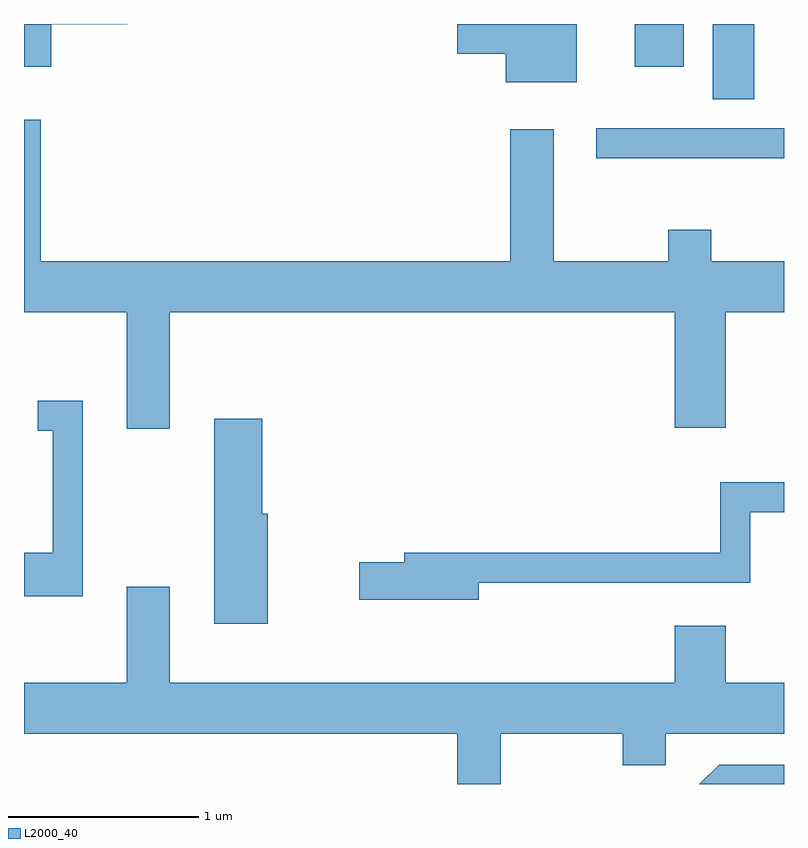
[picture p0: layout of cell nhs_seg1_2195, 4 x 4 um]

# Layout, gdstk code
import gdstk
lib = gdstk.Library(unit=1e-6, precision=1e-09)
def R(c, l, rs):  # rectangles x0, y0, x1, y1
    for r in rs: c.add(gdstk.rectangle(r[:2], r[2:], *l))
def P(c, l, *ps):  # polygons
    for p in ps: c.add(gdstk.Polygon(p, *l))
L2000_40 = (2000, 40)

nhs_seg1_2195 = lib.new_cell('nhs_seg1_2195')
R(nhs_seg1_2195, L2000_40, [(254.623,947.006,255.611,947.164), (255.236,947.316,255.454,947.712), (254.826,947.486,255.084,947.712)])
P(nhs_seg1_2195, L2000_40, [(251.754,947.711),(252.154,947.711),(252.154,947.712),(251.611,947.712),(251.611,947.486),(251.754,947.486)],
  [(254.519,947.712),(253.891,947.712),(253.891,947.556),(254.146,947.556),(254.146,947.406),(254.519,947.406)],
  [(252.379,946.196),(255.036,946.196),(255.036,945.586),(255.304,945.586),(255.304,946.196),(255.611,946.196),(255.611,946.464),(255.229,946.464),(255.229,946.629),(255.001,946.629),(255.001,946.464),(254.399,946.464),(254.399,947.159),(254.171,947.159),(254.171,946.464),(251.699,946.464),(251.699,947.208),(251.611,947.208),(251.611,946.196),(252.151,946.196),(252.151,945.581),(252.379,945.581)],
  [(251.919,945.729),(251.683,945.729),(251.683,945.571),(251.761,945.571),(251.761,944.929),(251.611,944.929),(251.611,944.701),(251.919,944.701)],
  [(252.894,945.134),(252.864,945.134),(252.864,945.634),(252.611,945.634),(252.611,944.556),(252.894,944.556)],
  [(254.004,944.771),(255.434,944.771),(255.434,945.141),(255.611,945.141),(255.611,945.299),(255.276,945.299),(255.276,944.929),(253.611,944.929),(253.611,944.879),(253.376,944.879),(253.376,944.681),(254.004,944.681)],
  [(254.119,943.976),(254.761,943.976),(254.761,943.811),(254.989,943.811),(254.989,943.976),(255.611,943.976),(255.611,944.244),(255.304,944.244),(255.304,944.544),(255.036,944.544),(255.036,944.244),(252.379,944.244),(252.379,944.749),(252.151,944.749),(252.151,944.244),(251.611,944.244),(251.611,943.976),(253.891,943.976),(253.891,943.712),(254.119,943.712)],
  [(255.611,943.814),(255.269,943.814),(255.166,943.712),(255.611,943.712)])

lib.write_gds('nhs_seg1_2195.gds')
